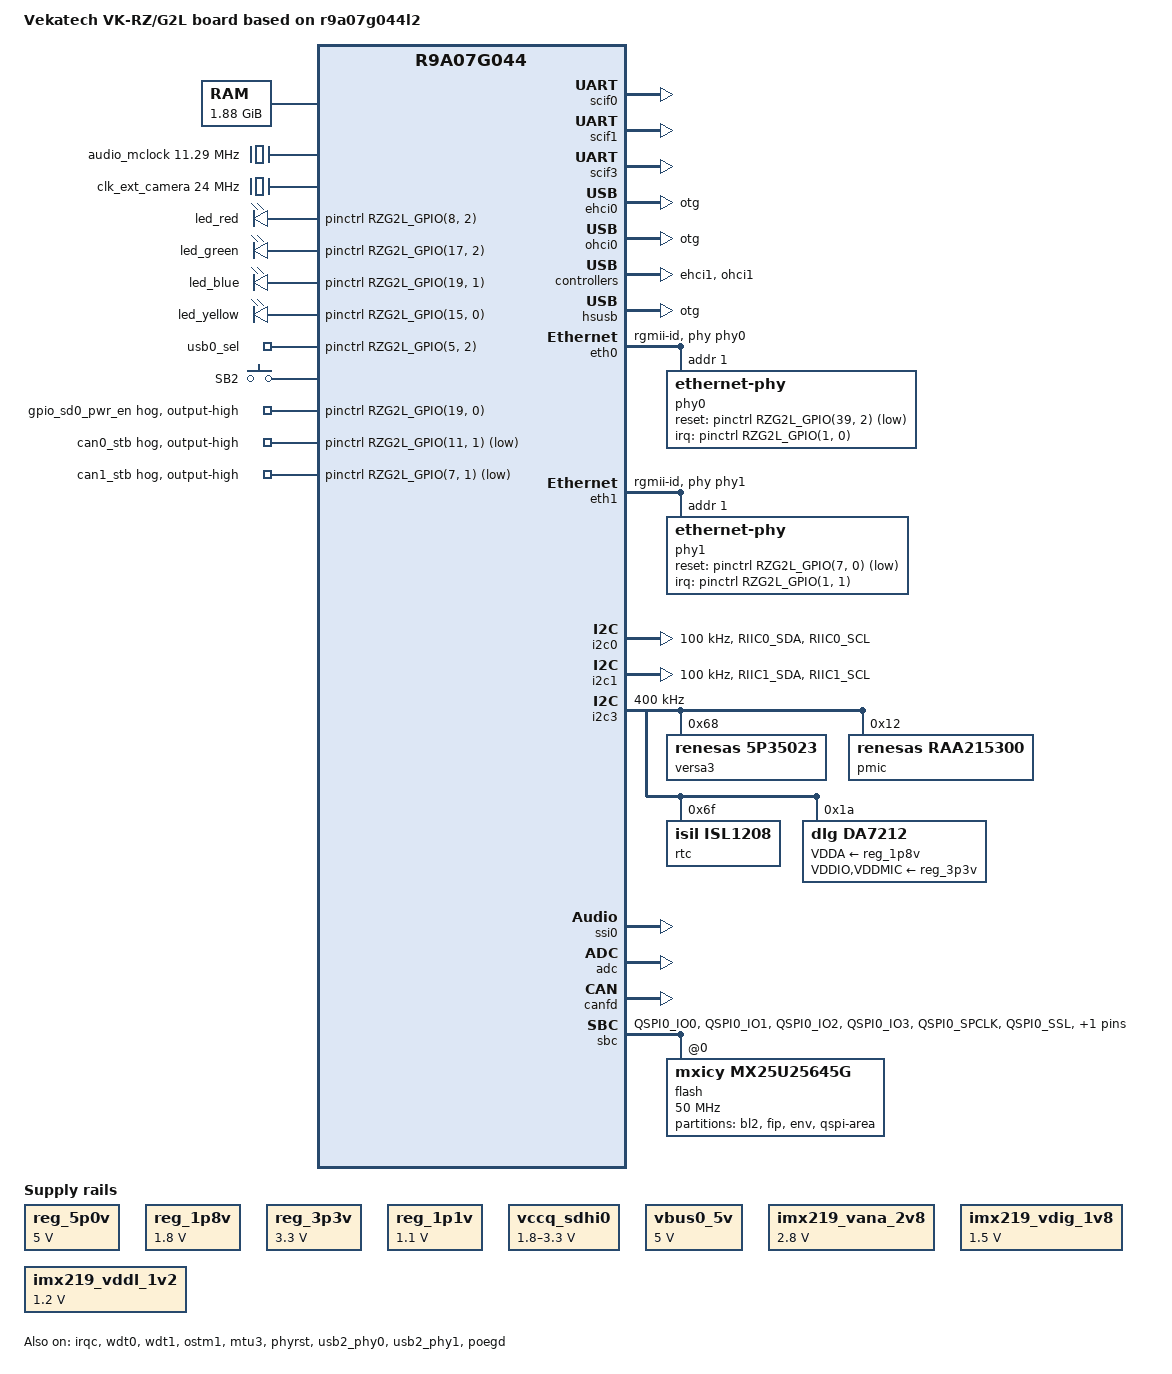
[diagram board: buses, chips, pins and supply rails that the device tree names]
// SPDX-License-Identifier: GPL-2.0
/*
 * Device Tree Source for the Vekatech (VKRZG2L Dual Cortex-A55)
 *
 * Copyright (C) 2022 Vekatech.
 */

/dts-v1/;

#include "r9a07g044l2.dtsi"
#include <dt-bindings/gpio/gpio.h>
#include <dt-bindings/interrupt-controller/irqc-rzg2l.h>
#include <dt-bindings/pinctrl/rzg2l-pinctrl.h>
#include <dt-bindings/input/input.h>


/ {
	model = "Vekatech VK-RZ/G2L board based on r9a07g044l2";
	compatible = "vekatech,vkrzg2l", "renesas,r9a07g044l2", "renesas,r9a07g044";

	aliases {
		ethernet0 = &eth0;
		ethernet1 = &eth1;
		serial0 = &scif0;
		serial1 = &scif1;
		serial2 = &scif2;
		serial3 = &scif3;
		i2c0 = &i2c0;
		i2c1 = &i2c1;
		i2c3 = &i2c3;
		mmc0 = &sdhi0;
	};

	chosen {
		bootargs = "ignore_loglevel";
		stdout-path = "serial0:115200n8";
	};

	memory@48000000 {
		device_type = "memory";
		/* first 128MB is reserved for secure area. */
		reg = <0x0 0x48000000 0x0 0x78000000>;
	};

	reserved-memory {
		#address-cells = <2>;
		#size-cells = <2>;
		ranges;

		global_cma: linux,cma@58000000 {
			compatible = "shared-dma-pool";
			linux,cma-default;
			reusable;
			reg = <0x0 0x58000000 0x0 0x10000000>;
		};

		mmp_reserved: linux,multimedia {
			compatible = "shared-dma-pool";
			reusable;
			reg = <0x00000000 0x68000000 0x0 0x8000000>;
		};
	};

	mmngr {
		compatible = "renesas,mmngr";
		memory-region = <&mmp_reserved>;
	};

	mmngrbuf {
		compatible = "renesas,mmngrbuf";
	};

	vspm_if {
		compatible = "renesas,vspm_if";
	};

	reg_5p0v: regulator0 {
		compatible = "regulator-fixed";
		regulator-name = "MAIN-5.0V";
		regulator-min-microvolt = <5000000>;
		regulator-max-microvolt = <5000000>;
		regulator-boot-on;
		regulator-always-on;
	};

	reg_1p8v: regulator1 {
		compatible = "regulator-fixed";
		regulator-name = "fixed-1.8V";
		regulator-min-microvolt = <1800000>;
		regulator-max-microvolt = <1800000>;
		regulator-boot-on;
		regulator-always-on;
	};

	reg_3p3v: regulator2 {
		compatible = "regulator-fixed";
		regulator-name = "fixed-3.3V";
		regulator-min-microvolt = <3300000>;
		regulator-max-microvolt = <3300000>;
		regulator-boot-on;
		regulator-always-on;
	};

	reg_1p1v: regulator-vdd-core {
		compatible = "regulator-fixed";
		regulator-name = "fixed-1.1V";
		regulator-min-microvolt = <1100000>;
		regulator-max-microvolt = <1100000>;
		regulator-boot-on;
		regulator-always-on;
	};

	vccq_sdhi0: regulator-vccq-sdhi0 {
		compatible = "regulator-gpio";
		regulator-name = "SDHI0 VccQ";
		regulator-min-microvolt = <1800000>;
		regulator-max-microvolt = <3300000>;
		gpios-states = <1>;
		states = <3300000 1>, <1800000 0>;
		regulator-boot-on;
		regulator-always-on;
	};

	vbus0_5v: regulator-vbus0-usb {
		compatible = "regulator-fixed";
		regulator-name = "USB2_VBUS0";
		regulator-min-microvolt = <5000000>;
		regulator-max-microvolt = <5000000>;
		regulator-always-on;
	};

	imx219_vana_2v8: 2p8v {
		compatible = "regulator-fixed";
		regulator-name = "camera_vana";
		regulator-min-microvolt = <2800000>;
		regulator-max-microvolt = <2800000>;
		regulator-always-on;
	};

	imx219_vdig_1v8: 1p8v {
		compatible = "regulator-fixed";
		regulator-name = "camera_vdig";
		regulator-min-microvolt = <1500000>;
		regulator-max-microvolt = <1500000>;
		regulator-always-on;
	};

	imx219_vddl_1v2: 1p2v {
		compatible = "regulator-fixed";
		regulator-name = "camera_vddl";
		regulator-min-microvolt = <1200000>;
		regulator-max-microvolt = <1200000>;
		regulator-always-on;
	};

	audio_mclock: audio_mclock {
		compatible = "fixed-clock";
		#clock-cells = <0>;
		clock-frequency = <11289600>;
	};

	clk_ext_camera: clk_ext_camera {
		compatible = "fixed-clock";
		#clock-cells = <0>;
		clock-frequency = <24000000>;
	};

	leds {
		compatible = "gpio-leds";
		led_red {
			gpios = <&pinctrl RZG2L_GPIO(8, 2) GPIO_ACTIVE_HIGH>;
			default-state = "off";
		};

		led_green {
			gpios = <&pinctrl RZG2L_GPIO(17, 2) GPIO_ACTIVE_HIGH>;
			linux,default-trigger = "heartbeat";
			default-state = "on";
		};

		led_blue {
			gpios = <&pinctrl RZG2L_GPIO(19, 1) GPIO_ACTIVE_HIGH>;
			default-state = "off";
		};

		led_yellow {
			gpios = <&pinctrl RZG2L_GPIO(15, 0) GPIO_ACTIVE_HIGH>;
			default-state = "off";
		};

		usb0_sel {
			gpios = <&pinctrl RZG2L_GPIO(5, 2) GPIO_ACTIVE_HIGH>;
			default-state = "off";
		};
	};

	keys {
		compatible = "gpio-keys";
		user_key {
			label = "SB2";
			linux,code = <KEY_1>;
			debounce-interval = <20>;
			interrupt-parent = <&pinctrl>;
			interrupts = <RZG2L_GPIO(39, 0) IRQ_TYPE_LEVEL_LOW>;
		};
	};

	sound-da7212 {
		compatible = "simple-audio-card";
		simple-audio-card,name = "audio-da7212";
		simple-audio-card,format = "i2s";
		simple-audio-card,bitclock-master = <&cpu_dai>;
		simple-audio-card,frame-master = <&cpu_dai>;

		simple-audio-card,widgets =
			"Microphone", "Microphone Jack",
			"Headphone", "Headphone Jack";
		simple-audio-card,routing =
			"MIC1", "Microphone Jack",
			"Microphone Jack", "Mic Bias 1",
			"Headphone Jack", "HPL",
			"Headphone Jack", "HPR";

		cpu_dai: simple-audio-card,cpu {
			sound-dai = <&ssi0>;
		};

		codec_dai: simple-audio-card,codec {
			sound-dai = <&da7212>;
			clocks = <&versa3 3>;
		};
	};

	hdmi_con: hdmi_con {
		compatible = "hdmi-connector";
		label = "micro-HDMI";
		type = "d";
		status = "disabled";

		ddc-i2c-bus = <&i2c1>;

		hpd-gpios = <&pinctrl RZG2L_GPIO(13, 0) GPIO_ACTIVE_HIGH>;

		port {
			hdmi_con_in: endpoint {
				remote-endpoint = <&hdmi_bridge_out>;
			};
		};
	};

	backlight: backlight {
		compatible = "pwm-backlight";
		pwms = <&gpt5 0 40000 0>;
		brightness-levels = <0 8 32 64 96 128 160 192 224 255>;
		default-brightness-level = <8>;
		power-supply = <&reg_5p0v>;
		status = "disabled";
	};

	x1_clk: x1-clock {
		compatible = "fixed-clock";
		#clock-cells = <0>;
		clock-frequency = <24000000>;
	};
};

&extal_clk {
	clock-frequency = <24000000>;
};

&audio_clk1{
	clock-frequency = <11289600>;
};

&audio_clk2{
	clock-frequency = <12288000>;
};

&irqc {
	status = "okay";
};

&gpu {
	mali-supply = <&reg_1p1v>;
};

&wdt0 {
	status = "okay";
	timeout-sec = <60>;
};

&wdt1 {
	status = "okay";
	timeout-sec = <60>;
};

&ostm1 {
	status = "okay";
};

&mtu3 {
	status = "okay";
};

&scif0 {
	pinctrl-0 = <&scif0_pins>;
	pinctrl-names = "default";
	status = "okay";
};

&scif1 {
	pinctrl-0 = <&scif1_pins>;
	pinctrl-names = "default";
	status = "okay";
};

&scif3 {
	pinctrl-0 = <&scif3_pins>;
	pinctrl-names = "default";
	status = "okay";
};

&ehci0 {
	memory-region = <&global_cma>;
	dr_mode = "otg";
	status = "okay";
};

&ohci0 {
	memory-region = <&global_cma>;
	dr_mode = "otg";
	status = "okay";
};

&ehci1 {
	memory-region = <&global_cma>;
	status = "okay";
};

&ohci1 {
	memory-region = <&global_cma>;
	status = "okay";
};

&hsusb {
	dr_mode = "otg";
	status = "okay";
};

&phyrst {
	status = "okay";
};

&usb2_phy0 {
	pinctrl-0 = <&usb0_pins>;
	pinctrl-names = "default";

	vbus-supply = <&vbus0_5v>;
	status = "okay";
};

&usb2_phy1 {
	pinctrl-0 = <&usb1_pins>;
	pinctrl-names = "default";

	vbus-supply = <&vbus0_5v>;
	status = "okay";
};

&eth0 {
	#address-cells = <1>;
	#size-cells = <0>;
	pinctrl-names = "default";
	pinctrl-0 = <&eth0_pins>;
	phy-handle = <&phy0>;
	phy-mode = "rgmii-id";
	status = "okay";

	/* Realtek RTL8211F (0x001cc916) */
	phy0: ethernet-phy@1 {
		reg = <1>;
		reset-assert-us = <15000>;
		reset-deassert-us = <100000>;
		reset-gpios = <&pinctrl RZG2L_GPIO(39, 2) GPIO_ACTIVE_LOW>;
		interrupt-parent = <&pinctrl>;
		interrupts = <RZG2L_GPIO(1, 0) IRQ_TYPE_LEVEL_LOW>;
		realtek,clkout-disable;
		eee-broken-1000t;
	};
};

&eth1 {
	#address-cells = <1>;
	#size-cells = <0>;
	pinctrl-names = "default";
	pinctrl-0 = <&eth1_pins>;
	phy-handle = <&phy1>;
	phy-mode = "rgmii-id";
	status = "okay";

	/* Realtek RTL8211F (0x001cc916) */
	phy1: ethernet-phy@1 {
		reg = <1>;
		reset-assert-us = <15000>;
		reset-deassert-us = <100000>;
		reset-gpios = <&pinctrl RZG2L_GPIO(7, 0) GPIO_ACTIVE_LOW>;
		interrupt-parent = <&pinctrl>;
		interrupts = <RZG2L_GPIO(1, 1) IRQ_TYPE_LEVEL_LOW>;
		realtek,clkout-disable;
		eee-broken-1000t;
	};
};

&csi2 {
	status = "disabled";
	ports {
		port {
			csi2_in: endpoint {
				clock-lanes = <0>;
				data-lanes = <1 2>;
				remote-endpoint = <&imx219_to_csi>;
			};
		};
	};
};

&i2c0 {
	pinctrl-0 = <&i2c0_pins>;
	pinctrl-names = "default";

	clock-frequency = <100000>;
	status = "okay";

	imx219: camera@10 {
		compatible = "sony,imx219";
		reg = <0x10>;
		status = "disabled";

		clock-names = "xclk";
		clocks = <&clk_ext_camera>;
		clock-frequency = <24000000>;

		VANA-supply = <&imx219_vana_2v8>;
		VDIG-supply = <&imx219_vdig_1v8>;
		VDDL-supply = <&imx219_vddl_1v2>;
		
		reset-gpios = <&pinctrl RZG2L_GPIO(2, 0) GPIO_ACTIVE_HIGH>;

		port {
			imx219_to_csi: endpoint {
				remote-endpoint = <&csi2_in>;
				data-lanes = <1 2>;
				clock-noncontinuous;
				link-frequencies = /bits/ 64 <456000000>;
			};
		};
	};
};

&i2c1 {
	pinctrl-0 = <&i2c1_pins>;
	pinctrl-names = "default";
	clock-frequency = <100000>;
	i2c-scl-falling-time-ns = <20>;
	i2c-scl-rising-time-ns = <350>;
	
	status = "okay";

	lt8912b: hdmi_bridge@48 {
		compatible = "lontium,lt8912b";
		reg = <0x48>;

		status = "disabled";

		reset-gpios = <&pinctrl RZG2L_GPIO(42, 0) GPIO_ACTIVE_LOW>;

		ports {
			#address-cells = <1>;
			#size-cells = <0>;

			port@1 {
				reg = <1>;

				hdmi_bridge_out: endpoint {
					remote-endpoint = <&hdmi_con_in>;
				};
			};
		};
	};

	gt911: gt911_ts@14 {
		compatible = "goodix,gt911";
		reg = <0x14>;

		status = "disabled";

		interrupt-parent = <&pinctrl>;
		interrupts = <RZG2L_GPIO(2, 1) IRQ_TYPE_EDGE_FALLING>;
		irq-gpios = <&pinctrl RZG2L_GPIO(2, 1) GPIO_ACTIVE_HIGH>;   /* DSI_TS_nINT */
	};

	mxt1066t2: mxt1066t2_ts@4a {
		compatible = "atmel,maxtouch";
		reg = <0x4a>;

		status = "disabled";

		interrupt-parent = <&pinctrl>;
		interrupts = <RZG2L_GPIO(2, 1) IRQ_TYPE_EDGE_FALLING>;
		irq-gpios = <&pinctrl RZG2L_GPIO(2, 1) GPIO_ACTIVE_HIGH>;   /* DSI_TS_nINT */
	};

	gt9271: gt9271_ts@5d {
		compatible = "goodix,gt911";
		reg = <0x5d>;

		status = "disabled";

		interrupt-parent = <&pinctrl>;
		interrupts = <RZG2L_GPIO(2, 1) IRQ_TYPE_LEVEL_LOW>;
		irq-gpios = <&pinctrl RZG2L_GPIO(2, 1) GPIO_ACTIVE_HIGH>;   /* DSI_TS_nINT */
	};

	ft5626: ft5626_ts@38 {
		compatible = "edt,edt-ft5506";
		reg = <0x38>;

		status = "disabled";

		interrupt-parent = <&pinctrl>;
		interrupts = <RZG2L_GPIO(2, 1) IRQ_TYPE_LEVEL_LOW>;
		irq-gpios = <&pinctrl RZG2L_GPIO(2, 1) GPIO_ACTIVE_HIGH>;   /* DSI_TS_nINT */
		touchscreen-size-x = <1280>;
		touchscreen-size-y = <800>;
		vcc-supply = <&reg_3p3v>;
	};
};

&i2c3 {
	pinctrl-0 = <&i2c3_pins>;
	pinctrl-names = "default";
	clock-frequency = <400000>;
	status = "okay";

	versa3: versa3@68 {
		compatible = "renesas,5p35023";
		reg = <0x68>;
		#clock-cells = <1>;
		clocks = <&x1_clk>;
		clock-names = "x1";
		assigned-clocks = <&versa3 0>,	/* REF RZ EXT */
				  <&versa3 1>,	/* SE1 Audio CLK1 */
				  <&versa3 2>,	/* SE2 Audio Master CLK */
				  <&versa3 3>,	/* SE3 HDMI CLK */
				  <&versa3 4>,	/* DIFF1 ETH1/2 CLK */
				  <&versa3 5>;	/* DIFF2 Audio CLK2 */
		assigned-clock-rates =	<24000000>, 
					<11289600>,
		                        <12288000>, 
					<25000000>,
		                        <25000000>, 
					<12288000>;
	};

	pmic: raa215300@12 {
		compatible = "renesas,raa215300";
		reg = <0x12>;

		rtc-enable;
	};

	rtc: isl1208@6f {
		compatible = "isil,isl1208";
		reg = <0x6f>;

		external-oscillator;
	};

	da7212: codec@1a {
		compatible = "dlg,da7212";
		#sound-dai-cells = <0>;
		reg = <0x1a>;
		dlg,micbias1-lvl = <2500>;
		dlg,micbias2-lvl = <2500>;
		VDDA-supply = <&reg_1p8v>;
		VDDIO-supply = <&reg_3p3v>;
		VDDMIC-supply = <&reg_3p3v>;
		clocks = <&audio_mclock>;
		clock-names = "mclk";
	};
};

&ssi0 {
	pinctrl-0 = <&ssi0_pins>;
	pinctrl-names = "default";
	status = "okay";
};

&poegd {
	status = "okay";
};

&gpt5 {
	pinctrl-0 = <&gpt5_pins>;
	pinctrl-names = "default";
	channel="channel_A";
	poeg = <&poegd>;
	status = "disabled";
};

&dsi {
	status = "disabled";
	#address-cells = <1>;
	#size-cells = <0>;

	mipi_panel: panel@0 {
		power-supply = <&reg_5p0v>;
		reg = <0>;
		backlight = <&backlight>;
		status = "disabled";
	};
};

&adc {
	pinctrl-0 = <&adc_pins>;
	pinctrl-names = "default";
	status = "okay";

	/delete-node/ channel@6;
	/delete-node/ channel@7;
};

&canfd {
	pinctrl-0 = <&can0_pins &can1_pins>;
	pinctrl-names = "default";
	status = "okay";
	channel0 {
		renesas,channel = <0>;
		status = "okay";
	};
	channel1 {
		renesas,channel = <1>;
		status = "okay";
	};
};

&sbc {
	status = "okay";

	pinctrl-0 = <&qspi0_pins>;
	pinctrl-names = "default";

	flash@0 {
		status = "okay";

		compatible = "mxicy,mx25u25645g", "jedec,spi-nor";
		spi-max-frequency = <50000000>;
		reg = <0>;
		spi-rx-bus-width = <4>;
		spi-tx-bus-width = <4>;
		m25p,fast-read;

		partitions {
			compatible = "fixed-partitions";
			#address-cells = <1>;
			#size-cells = <1>;

			partition@0 {
				label = "bl2";
				reg = <0x00000000 0x0001D200>;
				read-only;
			};
			partition@1D200 {
				label = "fip";
				reg = <0x0001D200 0x001C2E00>;
				read-only;
			};
			partition@1E0000 {
				label = "env";
				reg = <0x001E0000 0x00020000>;
				read-only;
			};
			partition@200000 {
				label = "qspi-area";
				reg = <0x00200000 0x01E00000>;
			};
		};
	};
};

&pinctrl {
	pinctrl-0 = <&sound_clk_pins>;
	pinctrl-names = "default";

	sound_clk_pins: sound_clk {
		pins = "AUDIO_CLK1", "AUDIO_CLK2";
		input-enable;
	};

	adc_pins: adc {
		pinmux = <RZG2L_PORT_PINMUX(9, 0, 2)>; /* ADC_TRG */
	};

	scif0_pins: scif0 {
		pinmux = <RZG2L_PORT_PINMUX(38, 0, 1)>,	/* TxD */
			 <RZG2L_PORT_PINMUX(38, 1, 1)>;	/* RxD */
	};

	scif1_pins: scif1 {
		pinmux = <RZG2L_PORT_PINMUX(40, 0, 1)>, /* TxD */
			 <RZG2L_PORT_PINMUX(40, 1, 1)>; /* RxD */
	};

	scif3_pins: scif3 {
		pinmux = <RZG2L_PORT_PINMUX(0, 0, 5)>, /* TxD */
			 <RZG2L_PORT_PINMUX(0, 1, 5)>; /* RxD */
	};


	i2c0_pins: i2c0 {
		pins = "RIIC0_SDA", "RIIC0_SCL";
		input-enable;
	};

	i2c1_pins: i2c1 {
		pins = "RIIC1_SDA", "RIIC1_SCL";
		input-enable;
	};

	i2c3_pins: i2c3 {
		pinmux = <RZG2L_PORT_PINMUX(18, 0, 3)>, /* SDA */
			 	 <RZG2L_PORT_PINMUX(18, 1, 3)>; /* SCL */
	};

	eth0_pins: eth0 {
		pinmux = <RZG2L_PORT_PINMUX(28, 1, 1)>, /* ET0_LINKSTA */
				 <RZG2L_PORT_PINMUX(27, 1, 1)>, /* ET0_MDC */
				 <RZG2L_PORT_PINMUX(28, 0, 1)>, /* ET0_MDIO */
				 <RZG2L_PORT_PINMUX(20, 0, 1)>, /* ET0_TXC */
				 <RZG2L_PORT_PINMUX(20, 1, 1)>, /* ET0_TX_CTL */
				 <RZG2L_PORT_PINMUX(20, 2, 1)>, /* ET0_TXD0 */
				 <RZG2L_PORT_PINMUX(21, 0, 1)>, /* ET0_TXD1 */
				 <RZG2L_PORT_PINMUX(21, 1, 1)>, /* ET0_TXD2 */
				 <RZG2L_PORT_PINMUX(22, 0, 1)>, /* ET0_TXD3 */
				 <RZG2L_PORT_PINMUX(24, 0, 1)>, /* ET0_RXC */
				 <RZG2L_PORT_PINMUX(24, 1, 1)>, /* ET0_RX_CTL */
				 <RZG2L_PORT_PINMUX(25, 0, 1)>, /* ET0_RXD0 */
				 <RZG2L_PORT_PINMUX(25, 1, 1)>, /* ET0_RXD1 */
				 <RZG2L_PORT_PINMUX(26, 0, 1)>, /* ET0_RXD2 */
				 <RZG2L_PORT_PINMUX(26, 1, 1)>; /* ET0_RXD3 */
	};

	eth1_pins: eth1 {
		pinmux = <RZG2L_PORT_PINMUX(37, 2, 1)>, /* ET1_LINKSTA */
				 <RZG2L_PORT_PINMUX(37, 0, 1)>, /* ET1_MDC */
				 <RZG2L_PORT_PINMUX(37, 1, 1)>, /* ET1_MDIO */
				 <RZG2L_PORT_PINMUX(29, 0, 1)>, /* ET1_TXC */
				 <RZG2L_PORT_PINMUX(29, 1, 1)>, /* ET1_TX_CTL */
				 <RZG2L_PORT_PINMUX(30, 0, 1)>, /* ET1_TXD0 */
				 <RZG2L_PORT_PINMUX(30, 1, 1)>, /* ET1_TXD1 */
				 <RZG2L_PORT_PINMUX(31, 0, 1)>, /* ET1_TXD2 */
				 <RZG2L_PORT_PINMUX(31, 1, 1)>, /* ET1_TXD3 */
				 <RZG2L_PORT_PINMUX(33, 1, 1)>, /* ET1_RXC */
				 <RZG2L_PORT_PINMUX(34, 0, 1)>, /* ET1_RX_CTL */
				 <RZG2L_PORT_PINMUX(34, 1, 1)>, /* ET1_RXD0 */
				 <RZG2L_PORT_PINMUX(35, 0, 1)>, /* ET1_RXD1 */
				 <RZG2L_PORT_PINMUX(35, 1, 1)>, /* ET1_RXD2 */
				 <RZG2L_PORT_PINMUX(36, 0, 1)>; /* ET1_RXD3 */
	};

	gpio-sd0-pwr-en-hog {
		gpio-hog;
		gpios = <RZG2L_GPIO(19, 0) GPIO_ACTIVE_HIGH>;
		output-high;
		line-name = "gpio_sd0_pwr_en";
	};

	usb0_pins: usb0 {
		pinmux = <RZG2L_PORT_PINMUX(4, 0, 1)>, /* VBUS */
			 <RZG2L_PORT_PINMUX(5, 0, 1)>; /* OVC */
	};

	usb1_pins: usb1 {
		pinmux = <RZG2L_PORT_PINMUX(8, 0, 2)>, /* VBUS */
			 <RZG2L_PORT_PINMUX(8, 1, 2)>; /* OVC */
	};

	ssi0_pins: ssi0 {
		pinmux = <RZG2L_PORT_PINMUX(45, 0, 1)>, /* BCK */
			 <RZG2L_PORT_PINMUX(45, 1, 1)>, /* RCK */
			 <RZG2L_PORT_PINMUX(45, 2, 1)>, /* TXD */
			 <RZG2L_PORT_PINMUX(45, 3, 1)>; /* RXD */
	};

	gpt5_pins: gpt5 {
		pinmux = <RZG2L_PORT_PINMUX(43, 2, 2)>; /* Channel A */
	};

	can0_stb {
		gpio-hog;
		gpios = <RZG2L_GPIO(11, 1) GPIO_ACTIVE_LOW>;
		output-high;
		line-name = "can0_stb";
	};

	can0_pins: can0 {
		pinmux = <RZG2L_PORT_PINMUX(10, 1, 2)>, /* TX */
			 <RZG2L_PORT_PINMUX(11, 0, 2)>; /* RX */
	};

	can1_stb {
		gpio-hog;
		gpios = <RZG2L_GPIO(7, 1) GPIO_ACTIVE_LOW>;
		output-high;
		line-name = "can1_stb";
	};

	can1_pins: can1 {
		pinmux = <RZG2L_PORT_PINMUX(12, 1, 2)>, /* TX */
			 <RZG2L_PORT_PINMUX(22, 1, 3)>; /* RX */
	};

	/*
	 * SD0 device selection is XOR between GPIO_SD0_DEV_SEL and SW1[3]
	 * The below switch logic can be used to select the device between
	 * eMMC and microSD, after setting GPIO_SD0_DEV_SEL to high in DT.
	 * SW1[3] should be at position 2/OFF to enable xx GB eMMC
	 * SW1[3] should be at position 3/ON to enable uSD card CN11
	 */

	sdhi0_emmc_pins: sd0emmc {
		sd0_emmc_data {
			pins = "SD0_DATA0", "SD0_DATA1", "SD0_DATA2", "SD0_DATA3",
			       "SD0_DATA4", "SD0_DATA5", "SD0_DATA6", "SD0_DATA7";
			power-source = <1800>;
		};

		sd0_emmc_ctrl {
			pins = "SD0_CLK", "SD0_CMD";
			power-source = <1800>;
		};

		sd0_emmc_rst {
			pins = "SD0_RST#";
			power-source = <1800>;
		};
	};

	sdhi0_pins: sd0 {
		sd0_data {
			pins = "SD0_DATA0", "SD0_DATA1", "SD0_DATA2", "SD0_DATA3";
			power-source = <3300>;
		};

		sd0_ctrl {
			pins = "SD0_CLK", "SD0_CMD";
			power-source = <3300>;
		};

		sd0_mux {
			pinmux = <RZG2L_PORT_PINMUX(47, 0, 2)>; /* SD0_CD */
		};
	};

	sdhi0_pins_uhs: sd0_uhs {
		sd0_data_uhs {
			pins = "SD0_DATA0", "SD0_DATA1", "SD0_DATA2", "SD0_DATA3";
			power-source = <1800>;
		};

		sd0_ctrl_uhs {
			pins = "SD0_CLK", "SD0_CMD";
			power-source = <1800>;
		};

		sd0_mux_uhs {
			pinmux = <RZG2L_PORT_PINMUX(47, 0, 2)>; /* SD0_CD */
		};
	};

	qspi0_pins: qspi0 {
		qspi0-data {
			pins = "QSPI0_IO0", "QSPI0_IO1", "QSPI0_IO2", "QSPI0_IO3";
			power-source = <1800>;
		};

		qspi0-ctrl {
			pins = "QSPI0_SPCLK", "QSPI0_SSL", "QSPI_RESET#";
			power-source = <1800>;
		};
	};
};
